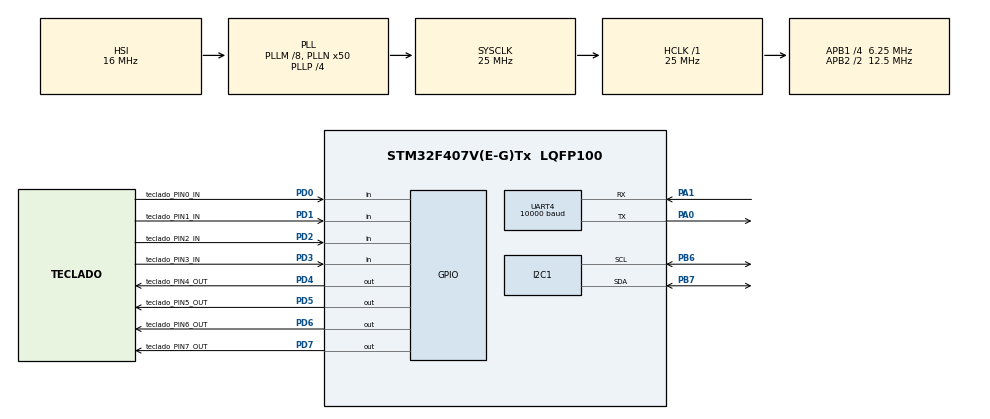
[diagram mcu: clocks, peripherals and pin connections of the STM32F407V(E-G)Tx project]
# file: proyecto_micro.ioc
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Dma.Request0=UART4_RX
Dma.UART4_RX.0.Direction=DMA_PERIPH_TO_MEMORY
Dma.UART4_RX.0.FIFOMode=DMA_FIFOMODE_DISABLE
Dma.UART4_RX.0.Instance=DMA1_Stream2
Dma.UART4_RX.0.MemDataAlignment=DMA_MDATAALIGN_BYTE
Dma.UART4_RX.0.MemInc=DMA_MINC_ENABLE
Dma.UART4_RX.0.Mode=DMA_CIRCULAR
Dma.UART4_RX.0.PeriphDataAlignment=DMA_PDATAALIGN_BYTE
Dma.UART4_RX.0.PeriphInc=DMA_PINC_DISABLE
Dma.UART4_RX.0.Priority=DMA_PRIORITY_LOW
Mcu.Family=STM32F4
Mcu.Name=STM32F407V(E-G)Tx
Mcu.Package=LQFP100
NVIC.DMA1_Stream2_IRQn=true\:0\:0\:false\:false\:true\:false\:true\:true
NVIC.PriorityGroup=NVIC_PRIORITYGROUP_0
PA0-WKUP.Mode=Asynchronous
PA0-WKUP.Signal=UART4_TX
PA1.Mode=Asynchronous
PA1.Signal=UART4_RX
PB6.Mode=I2C
PB6.Signal=I2C1_SCL
PB7.Mode=I2C
PB7.Signal=I2C1_SDA
PD0.GPIO_Label=teclado_PIN0_IN
PD0.GPIO_PuPd=GPIO_PULLDOWN
PD0.Signal=GPIO_Input
PD1.GPIO_Label=teclado_PIN1_IN
PD1.GPIO_PuPd=GPIO_PULLDOWN
PD1.Signal=GPIO_Input
PD2.GPIO_Label=teclado_PIN2_IN
PD2.GPIO_PuPd=GPIO_PULLDOWN
PD2.Signal=GPIO_Input
PD3.GPIO_Label=teclado_PIN3_IN
PD3.GPIO_PuPd=GPIO_PULLDOWN
PD3.Signal=GPIO_Input
PD4.GPIO_Label=teclado_PIN4_OUT
PD4.Signal=GPIO_Output
PD5.GPIO_Label=teclado_PIN5_OUT
PD5.Signal=GPIO_Output
PD6.GPIO_Label=teclado_PIN6_OUT
PD6.Signal=GPIO_Output
PD7.GPIO_Label=teclado_PIN7_OUT
PD7.Signal=GPIO_Output
ProjectManager.HeapSize=0x200
ProjectManager.StackSize=0x400
ProjectManager.TargetToolchain=STM32CubeIDE
RCC.48MHZClocksFreq_Value=14285714.285714285
RCC.AHBFreq_Value=25000000
RCC.APB1CLKDivider=RCC_HCLK_DIV4
RCC.APB1Freq_Value=6250000
RCC.APB1TimFreq_Value=12500000
RCC.APB2CLKDivider=RCC_HCLK_DIV2
RCC.APB2Freq_Value=12500000
RCC.APB2TimFreq_Value=25000000
RCC.CortexFreq_Value=25000000
RCC.HCLKFreq_Value=25000000
RCC.HSE_VALUE=8000000
RCC.HSI_VALUE=16000000
RCC.LSE_VALUE=32768
RCC.PLLM=8
RCC.PLLN=50
RCC.PLLP=RCC_PLLP_DIV4
RCC.PLLQ=7
RCC.SYSCLKFreq_VALUE=25000000
RCC.SYSCLKSource=RCC_SYSCLKSOURCE_PLLCLK
RCC.VCOOutputFreq_Value=100000000
UART4.BaudRate=10000
UART4.VirtualMode=Asynchronous
board=STM32F407G-DISC1

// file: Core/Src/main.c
/* USER CODE BEGIN Header */
/**
  ******************************************************************************
  * @file           : main.c
  * @brief          : Main program body
  ******************************************************************************
  * @attention
  *
  * Copyright (c) 2023 STMicroelectronics.
  * All rights reserved.
  *
  * This software is licensed under terms that can be found in the LICENSE file
  * in the root directory of this software component.
  * If no LICENSE file comes with this software, it is provided AS-IS.
  *
  ******************************************************************************
  */
/* USER CODE END Header */
#include "main.h"

/* USER CODE BEGIN Includes */
#include "i2c-lcd.h"
#include "keypad.h"
/* USER CODE END Includes */

I2C_HandleTypeDef hi2c1;

UART_HandleTypeDef huart4;
DMA_HandleTypeDef hdma_uart4_rx;

/* USER CODE BEGIN PV */
enum FPGA_STATUS {
	FAULT = 0x7F,
	BUSY = 0x01,
	AVAILABLE = 0x02,
	FINISHED = 0x03,
	UNDEF = 0x80
};
enum FPGA_STATUS fpga_status_h4 = UNDEF;

//uint8_t FPGA_STATUS;
/* USER CODE END PV */

void SystemClock_Config(void);
static void MX_GPIO_Init(void);
static void MX_DMA_Init(void);
static void MX_I2C1_Init(void);
static void MX_UART4_Init(void);

/* USER CODE BEGIN 0 */
int row=0;
int col=0;

char buffer[2];
/* USER CODE END 0 */

int main(void)
{

  /* MCU Configuration--------------------------------------------------------*/

  /* Reset of all peripherals, Initializes the Flash interface and the Systick. */
  HAL_Init();

  /* Configure the system clock */
  SystemClock_Config();

  /* Initialize all configured peripherals */
  MX_GPIO_Init();
  MX_DMA_Init();
  MX_I2C1_Init();
  MX_UART4_Init();
  /* USER CODE BEGIN 2 */
  lcd_init ();
  lcd_send_string("PRESS A BUTTON");
  //This Callback will be called when the DMA receive call is complete
  //There's also a Half complete callback for circular buffer functions
  void HAL_UART_RxCpltCallback(UART_HandleTypeDef *huart)
  {
      if (huart == &huart4){

      }
  }
  /* USER CODE END 2 */

  /* Infinite loop */
  /* USER CODE BEGIN WHILE */
  while (1)
  {
	  getKey(buffer);
	  lcd_put_cur(1, 0);
	  lcd_send_string(buffer);
	  lcd_send_string("                ");
	  //This call is non blocking and should be called when we want to
	  //start updating FPGA_STATUS
	  HAL_UART_Receive_DMA(&huart4, &fpga_status_h4, 1);
    /* USER CODE END WHILE */

  }
}

void SystemClock_Config(void)
{
  RCC_OscInitTypeDef RCC_OscInitStruct = {0};
  RCC_ClkInitTypeDef RCC_ClkInitStruct = {0};

  /** Configure the main internal regulator output voltage
  */
  __HAL_RCC_PWR_CLK_ENABLE();
  __HAL_PWR_VOLTAGESCALING_CONFIG(PWR_REGULATOR_VOLTAGE_SCALE1);

  /** Initializes the RCC Oscillators according to the specified parameters
  * in the RCC_OscInitTypeDef structure.
  */
  RCC_OscInitStruct.OscillatorType = RCC_OSCILLATORTYPE_HSI;
  RCC_OscInitStruct.HSIState = RCC_HSI_ON;
  RCC_OscInitStruct.HSICalibrationValue = RCC_HSICALIBRATION_DEFAULT;
  RCC_OscInitStruct.PLL.PLLState = RCC_PLL_ON;
  RCC_OscInitStruct.PLL.PLLSource = RCC_PLLSOURCE_HSI;
  RCC_OscInitStruct.PLL.PLLM = 8;
  RCC_OscInitStruct.PLL.PLLN = 50;
  RCC_OscInitStruct.PLL.PLLP = RCC_PLLP_DIV4;
  RCC_OscInitStruct.PLL.PLLQ = 7;
  if (HAL_RCC_OscConfig(&RCC_OscInitStruct) != HAL_OK)
  {
    Error_Handler();
  }

  /** Initializes the CPU, AHB and APB buses clocks
  */
  RCC_ClkInitStruct.ClockType = RCC_CLOCKTYPE_HCLK|RCC_CLOCKTYPE_SYSCLK
                              |RCC_CLOCKTYPE_PCLK1|RCC_CLOCKTYPE_PCLK2;
  RCC_ClkInitStruct.SYSCLKSource = RCC_SYSCLKSOURCE_PLLCLK;
  RCC_ClkInitStruct.AHBCLKDivider = RCC_SYSCLK_DIV1;
  RCC_ClkInitStruct.APB1CLKDivider = RCC_HCLK_DIV4;
  RCC_ClkInitStruct.APB2CLKDivider = RCC_HCLK_DIV2;

  if (HAL_RCC_ClockConfig(&RCC_ClkInitStruct, FLASH_LATENCY_0) != HAL_OK)
  {
    Error_Handler();
  }
}

static void MX_I2C1_Init(void)
{

  hi2c1.Instance = I2C1;
  hi2c1.Init.ClockSpeed = 100000;
  hi2c1.Init.DutyCycle = I2C_DUTYCYCLE_2;
  hi2c1.Init.OwnAddress1 = 0;
  hi2c1.Init.AddressingMode = I2C_ADDRESSINGMODE_7BIT;
  hi2c1.Init.DualAddressMode = I2C_DUALADDRESS_DISABLE;
  hi2c1.Init.OwnAddress2 = 0;
  hi2c1.Init.GeneralCallMode = I2C_GENERALCALL_DISABLE;
  hi2c1.Init.NoStretchMode = I2C_NOSTRETCH_DISABLE;
  if (HAL_I2C_Init(&hi2c1) != HAL_OK)
  {
    Error_Handler();
  }

}

static void MX_UART4_Init(void)
{

  huart4.Instance = UART4;
  huart4.Init.BaudRate = 10000;
  huart4.Init.WordLength = UART_WORDLENGTH_8B;
  huart4.Init.StopBits = UART_STOPBITS_1;
  huart4.Init.Parity = UART_PARITY_NONE;
  huart4.Init.Mode = UART_MODE_TX_RX;
  huart4.Init.HwFlowCtl = UART_HWCONTROL_NONE;
  huart4.Init.OverSampling = UART_OVERSAMPLING_16;
  if (HAL_UART_Init(&huart4) != HAL_OK)
  {
    Error_Handler();
  }

}

static void MX_DMA_Init(void)
{

  /* DMA controller clock enable */
  __HAL_RCC_DMA1_CLK_ENABLE();

  /* DMA interrupt init */
  /* DMA1_Stream2_IRQn interrupt configuration */
  HAL_NVIC_SetPriority(DMA1_Stream2_IRQn, 0, 0);
  HAL_NVIC_EnableIRQ(DMA1_Stream2_IRQn);

}

static void MX_GPIO_Init(void)
{
  GPIO_InitTypeDef GPIO_InitStruct = {0};

  /* GPIO Ports Clock Enable */
  __HAL_RCC_GPIOA_CLK_ENABLE();
  __HAL_RCC_GPIOD_CLK_ENABLE();
  __HAL_RCC_GPIOB_CLK_ENABLE();

  /*Configure GPIO pin Output Level */
  HAL_GPIO_WritePin(GPIOD, teclado_PIN4_OUT_Pin|teclado_PIN5_OUT_Pin|teclado_PIN6_OUT_Pin|teclado_PIN7_OUT_Pin, GPIO_PIN_RESET);

  /*Configure GPIO pins : teclado_PIN0_IN_Pin teclado_PIN1_IN_Pin teclado_PIN2_IN_Pin teclado_PIN3_IN_Pin */
  GPIO_InitStruct.Pin = teclado_PIN0_IN_Pin|teclado_PIN1_IN_Pin|teclado_PIN2_IN_Pin|teclado_PIN3_IN_Pin;
  GPIO_InitStruct.Mode = GPIO_MODE_INPUT;
  GPIO_InitStruct.Pull = GPIO_PULLDOWN;
  HAL_GPIO_Init(GPIOD, &GPIO_InitStruct);

  /*Configure GPIO pins : teclado_PIN4_OUT_Pin teclado_PIN5_OUT_Pin teclado_PIN6_OUT_Pin teclado_PIN7_OUT_Pin */
  GPIO_InitStruct.Pin = teclado_PIN4_OUT_Pin|teclado_PIN5_OUT_Pin|teclado_PIN6_OUT_Pin|teclado_PIN7_OUT_Pin;
  GPIO_InitStruct.Mode = GPIO_MODE_OUTPUT_PP;
  GPIO_InitStruct.Pull = GPIO_NOPULL;
  GPIO_InitStruct.Speed = GPIO_SPEED_FREQ_LOW;
  HAL_GPIO_Init(GPIOD, &GPIO_InitStruct);

}

void Error_Handler(void)
{
  __disable_irq();
  while (1)
  {
  }
}
